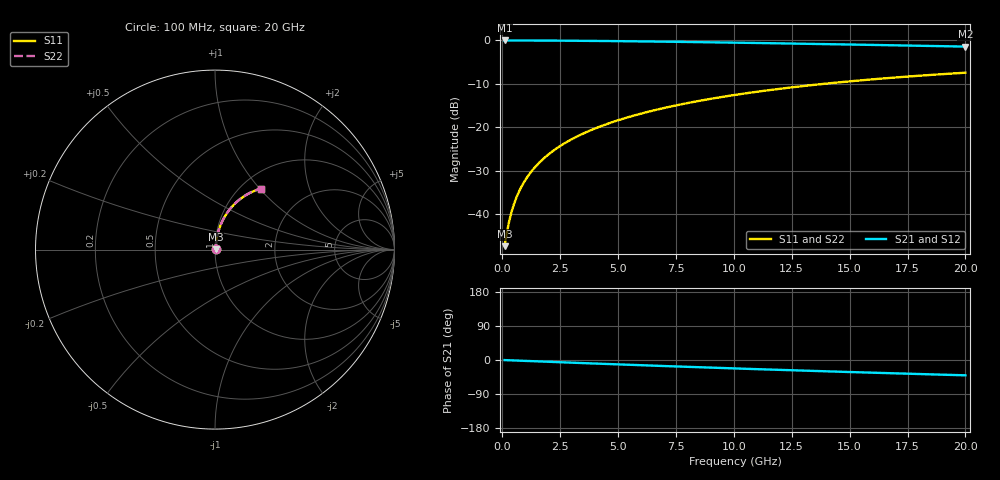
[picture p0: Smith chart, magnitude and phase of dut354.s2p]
! Touchstone file exported from HFSS 2024.1.0
!  File:  C:/UserFiles/LocalFiles/RDL_TSV_Batchsim/temp_RDL_top_354_1779608285.aedt
!  Generated:  03:40:01 PM May 24, 2026
!  Design:  RDL_top
!  Project:  temp_RDL_top_354_1779608285
!  Setup:  Setup1
!  Solution:  Sweep
! Variables:
!  dtsv = 10.80580581um
!  hbump = 3um
!  htsv = 62.06um
!  ldown = 100um
!  lrdl = 568.03um
!  p = 40
!  p1 = 41.76um
!  rhole = 1um
!  t = 450um
!  tdown = 3.915915916um
!  trdl = 4.79um
!  wdown = 15.38538539um
!  wrdl = 12.31um
# GHz S MA R 50.000000
! Terminal data exported
! Port[1] = Box2_T1
! Port[2] = Box2_T2
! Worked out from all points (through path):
!   200 points, 100 MHz to 20 GHz, reference 50 ohm
!   highest |S21| = -0.03 dB at 100 MHz (marker M1); lowest = -1.4 dB at 20 GHz (marker M2)
!   group delay of S21, straight-line fit = 5.6 ps
!   lowest |S11| = -47.3 dB at 100 MHz (marker M3), VSWR 1.01, Z = 50.3 + j0.257 ohm
!   |S11| at or under -10 dB: start of sweep to 13.89 GHz
!   |S22| runs from -47.3 to -7.4 dB; largest |S21 - S12| = 9.2e-15
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0.1  0.004306 36.3  0.9965 -0.2  0.9965 -0.2  0.004306 36.3
! Gamma 0 0 0 0
! Port Impedance 50 0 50 0
0.2  0.006196 54.9  0.9964 -0.5  0.9964 -0.5  0.006196 54.9
0.3  0.008397 63.9  0.9963 -0.7  0.9963 -0.7  0.008397 63.9
0.4  0.01069 69.0  0.9962 -1.0  0.9962 -1.0  0.01069 69.0
0.5  0.01303 72.3  0.996 -1.2  0.996 -1.2  0.01303 72.3
0.6  0.01538 74.5  0.9959 -1.4  0.9959 -1.4  0.01538 74.5
0.8  0.02012 77.4  0.9956 -1.9  0.9956 -1.9  0.02012 77.4
1.1  0.0273 79.6  0.9951 -2.6  0.9951 -2.6  0.0273 79.6
1.5  0.03692 80.9  0.9943 -3.6  0.9943 -3.6  0.03692 80.9
1.8  0.04415 81.3  0.9935 -4.3  0.9935 -4.3  0.04415 81.3
2.1  0.05138 81.4  0.9926 -5.0  0.9926 -5.0  0.05138 81.4
2.7  0.06581 81.2  0.9905 -6.4  0.9905 -6.4  0.06581 81.2
3.5  0.08496 80.5  0.987 -8.2  0.987 -8.2  0.08497 80.5
4.2  0.1016 79.6  0.9834 -9.8  0.9834 -9.8  0.1016 79.6
5  0.1205 78.5  0.9788 -11.6  0.9788 -11.6  0.1205 78.5
5.9  0.1416 77.1  0.9729 -13.6  0.9729 -13.6  0.1417 77.1
6.8  0.1625 75.7  0.9666 -15.5  0.9666 -15.5  0.1626 75.7
8.3  0.1969 73.2  0.955 -18.7  0.955 -18.7  0.1969 73.2
10.1  0.237 70.0  0.94 -22.4  0.94 -22.4  0.2371 70.1
13.4  0.3064 64.2  0.9102 -28.8  0.9102 -28.8  0.3066 64.3
16.7  0.3692 58.5  0.8788 -34.8  0.8788 -34.8  0.3694 58.6
20  0.4245 53.1  0.8471 -40.4  0.8471 -40.4  0.4247 53.1
